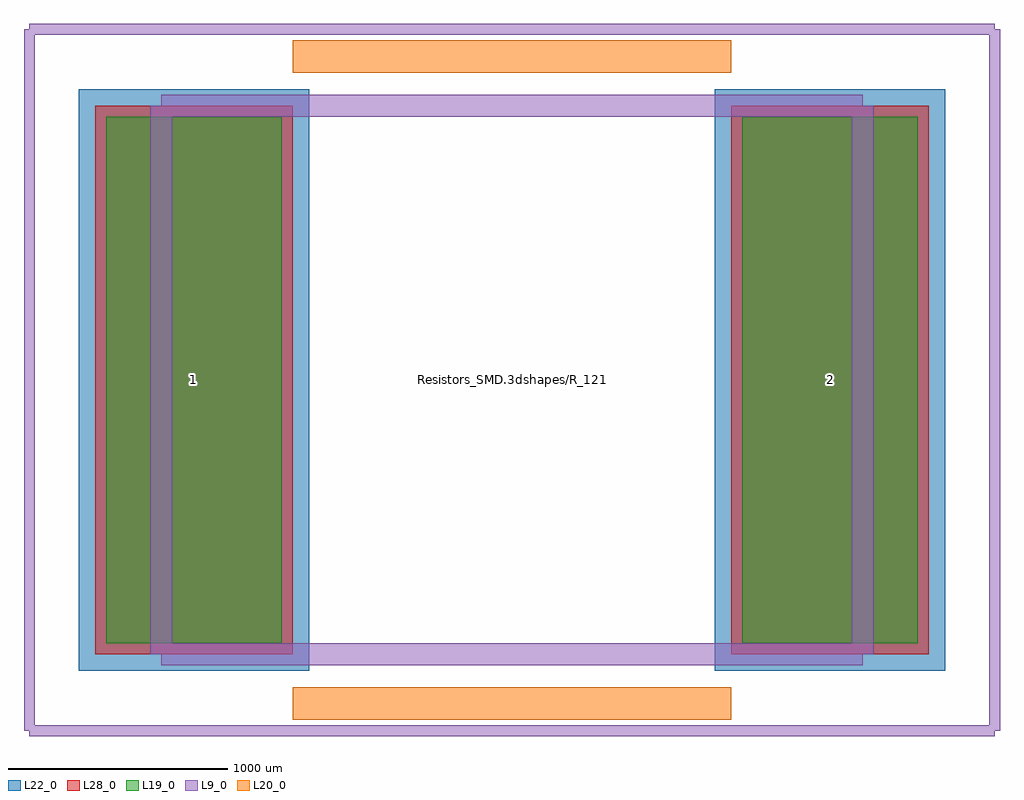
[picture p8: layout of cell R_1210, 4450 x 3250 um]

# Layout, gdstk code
import gdstk
lib = gdstk.Library(unit=1e-6, precision=1e-09)
def R(c, l, rs):  # rectangles x0, y0, x1, y1
    for r in rs: c.add(gdstk.rectangle(r[:2], r[2:], *l))
L9_0 = (9, 0)
L19_0 = (19, 0)
L20_0 = (20, 0)
L22_0 = (22, 0)
L28_0 = (28, 0)

r_1210 = lib.new_cell('R_1210')
R(r_1210, L19_0, [(-1850,-1200,-1050,1200), (1050,-1200,1850,1200)])
R(r_1210, L22_0, [(-1975,-1325,-925,1325), (925,-1325,1975,1325)])
R(r_1210, L28_0, [(-1900,-1250,-1000,1250), (1000,-1250,1900,1250)])
r_1210.add(gdstk.FlexPath([(-1000,1475),(1000,1475)], 149.998, ends="flush", simple_path=True, layer=20, datatype=0))  # L20_0
r_1210.add(gdstk.FlexPath([(1000,-1475),(-1000,-1475)], 149.998, ends="flush", simple_path=True, layer=20, datatype=0))  # L20_0
r_1210.add(gdstk.FlexPath([(2200,1600),(2200,-1600)], 50, ends="flush", simple_path=True, layer=9, datatype=0))  # L9_0
r_1210.add(gdstk.FlexPath([(-2200,1600),(-2200,-1600)], 50, ends="flush", simple_path=True, layer=9, datatype=0))  # L9_0
r_1210.add(gdstk.FlexPath([(-2200,-1600),(2200,-1600)], 50, ends="flush", simple_path=True, layer=9, datatype=0))  # L9_0
r_1210.add(gdstk.FlexPath([(-2200,1600),(2200,1600)], 50, ends="flush", simple_path=True, layer=9, datatype=0))  # L9_0
r_1210.add(gdstk.FlexPath([(-1600,1250),(1600,1250)], 100, ends="flush", simple_path=True, layer=9, datatype=0))  # L9_0
r_1210.add(gdstk.FlexPath([(1600,1250),(1600,-1250)], 100, ends="flush", simple_path=True, layer=9, datatype=0))  # L9_0
r_1210.add(gdstk.FlexPath([(1600,-1250),(-1600,-1250)], 100, ends="flush", simple_path=True, layer=9, datatype=0))  # L9_0
r_1210.add(gdstk.FlexPath([(-1600,-1250),(-1600,1250)], 100, ends="flush", simple_path=True, layer=9, datatype=0))  # L9_0
r_1210.add(gdstk.Label('Resistors_SMD.3dshapes/R_1210.wrl', (0,0), layer=12, texttype=0))
r_1210.add(gdstk.Label('2', (1450,0), layer=28, texttype=0))
r_1210.add(gdstk.Label('1', (-1450,0), layer=28, texttype=0))
r_1210.add(gdstk.Label('type', (0,-2700), layer=9, texttype=0))
r_1210.add(gdstk.Label('devicename', (0,2700), layer=9, texttype=0))

lib.write_gds('R_1210.gds')
